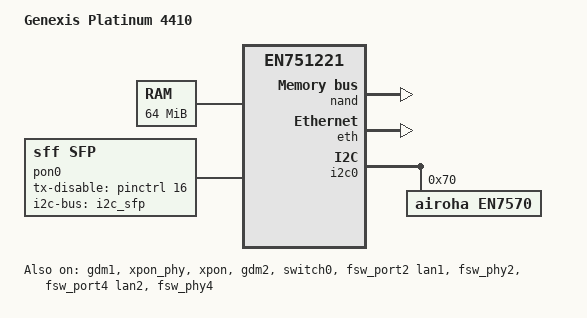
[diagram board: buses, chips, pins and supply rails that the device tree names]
// SPDX-License-Identifier: (GPL-2.0-only OR BSD-2-Clause)
/dts-v1/;

#include "en751221.dtsi"

/ {
	model = "Genexis Platinum 4410";
	compatible = "genexis,platinum-4410", "econet,en751221";

	memory@0 {
		device_type = "memory";
		reg = <0x00000000 0x04000000>;
	};

	chosen {
		stdout-path = "/serial@1fbf0000:115200";
		linux,usable-memory-range = <0x00020000 0x03fe0000>;
	};

	/*
	 * The integrated optical frontend is exposed like a soldered-down SFP.
	 * GPIO 16 is the EN751221 PON TX-disable signal, matching the MitraStar
	 * GPT-2741GNAC-N1 PON wiring used by this board.
	 */
	pon0: pon0 {
		compatible = "sff,sfp";
		i2c-bus = <&i2c_sfp>;
		tx-disable-gpios = <&pinctrl 16 GPIO_ACTIVE_HIGH>;
	};
};

&nand {
	status = "okay";
	econet,bmt;
	econet,bbt-table-size = <250>;

	partitions {
		compatible = "fixed-partitions";
		#address-cells = <1>;
		#size-cells = <1>;

		partition@0 {
			label = "bootloader";
			reg = <0x0 0x40000>;
			read-only;

			nvmem-layout {
				compatible = "fixed-layout";
				#address-cells = <1>;
				#size-cells = <1>;

				macaddr_bootloader_ff48: macaddr@ff48 {
					compatible = "mac-base";
					reg = <0xff48 0x6>;
					#nvmem-cell-cells = <1>;
				};
			};
		};

		partition@40000 {
			label = "romfile";
			reg = <0x40000 0x40000>;
		};

		partition@80000 {
			label = "tclinux";
			reg = <0x80000 0x1000000>;
			econet,enable-remap;
		};

		/* Nested inside tclinux. */
		partition@480000 {
			label = "rootfs";
			reg = <0x480000 0xb80000>;
			linux,rootfs;
		};

		partition@1080000 {
			label = "tclinux_slave";
			reg = <0x1080000 0x1000000>;
		};

		partition@2080000 {
			label = "yaffs";
			reg = <0x2080000 0x2900000>;
		};

		partition@4980000 {
			label = "unknown";
			reg = <0x4980000 0x24c0000>;
		};

		partition@6e40000 {
			label = "reservearea";
			reg = <0x6e40000 0x1c0000>;

			nvmem-layout {
				compatible = "fixed-layout";
				#address-cells = <1>;
				#size-cells = <1>;

				/*
				 * Factory EN7570 data: 100 big-endian 32-bit words.
				 * The GPON magic is at cell offset 0x94.
				 */
				en7570_calibration: calibration@c0447 {
					reg = <0xc0447 0x190>;
				};

				eeprom_reserve_140000: eeprom@140000 {
					reg = <0x140000 0x400>;
				};
			};
		};
	};
};

&eth {
	/* Keep both QDMA engines, but size their rings for this 64 MiB board. */
	airoha,low-memory-qdma-profile;
	status = "okay";
};

&gdm1 {
	status = "okay";
	nvmem-cells = <&macaddr_bootloader_ff48 0>;
	nvmem-cell-names = "mac-address";
};

&i2c0 {
	status = "okay";

	en7570: lddla@70 {
		compatible = "airoha,en7570";
		reg = <0x70>;
		nvmem-cells = <&en7570_calibration>;
		nvmem-cell-names = "calibration";

		i2c_sfp: i2c-sfp {
			#address-cells = <1>;
			#size-cells = <0>;
		};
	};
};

&xpon_phy {
	/*
	 * The integrated EN7570 drives receive signal detect, transmit signal
	 * detect, transmit fault and burst enable in their default senses, so
	 * no airoha,*-inverted property is set here. Leaving the reset value in
	 * place would invert receive signal detect and report a permanent LOS.
	 */
	status = "okay";
};

&xpon {
	status = "okay";

	airoha,gpon-serial-from-mac;
	omci-vendor-id = "GNXS";
	/* Two Ethernet UNIs: the lan1 and lan2 jacks. */
	omci-uni-count = /bits/ 8 <2>;
	sfp = <&pon0>;
};

&gdm2 {
	status = "okay";
	phy-mode = "internal";
	airoha,xpon-managed;
	openwrt,netdev-name = "pon0";
	nvmem-cells = <&macaddr_bootloader_ff48 1>;
	nvmem-cell-names = "mac-address";
};

&switch0 {
	status = "okay";
};

/* 100 Mbit/s jack on SoC switch port 2 / PHY 10. */
&fsw_port2 {
	label = "lan1";
	status = "okay";
};

&fsw_phy2 {
	status = "okay";
};

/* 1 Gbit/s jack on SoC switch port 4 / PHY 12. */
&fsw_port4 {
	label = "lan2";
	status = "okay";
};

&fsw_phy4 {
	status = "okay";
};

/* No external companion switch was detected on this board. */
&gport5 {
	status = "disabled";
};

&pcie0 {
	/* Wi-Fi stays disabled on the 64 MiB profile. */
	status = "disabled";
};
